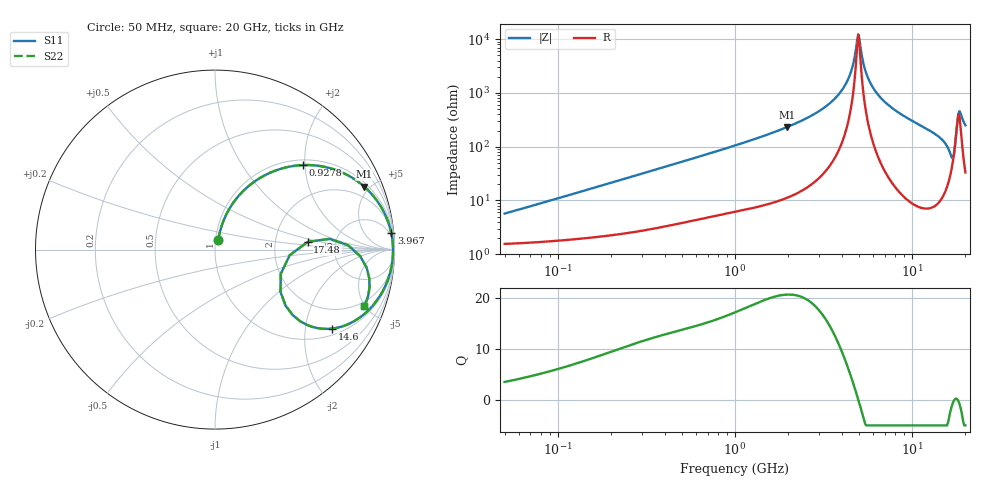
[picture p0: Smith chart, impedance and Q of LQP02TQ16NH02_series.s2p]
!Murata Part Number: LQP02TQ16NH02
!These Parameters are Measured in Series Mode Connection
!  o--[Z]--o
!Port1  Port2
!  o-------o
!Freq. Start=50[MHz] Stop=20[GHz], 401[Steps]
# Hz S RI R 50
!Freq.(Hz) S11(Real) S11(Imag) S21(Real) S21(Imag) S12(Real) S12(Imag) S22(Real) S22(Imag)
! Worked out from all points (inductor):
!   401 points, 50 MHz to 20 GHz, reference 50 ohm
!   read as one part in series: L = 17.4 nH near 51.52 MHz
!   highest Q = 20.7 at 1.962 GHz (marker M1), where L = 18.7 nH
!   self-resonance near 4.967 GHz
!   S11 on the Smith chart (normalised r, x): 50 MHz: 1.03, +0.11; 927.8 MHz: 1.12, +1.95; 3.967 GHz: 3, +21; 14.6 GHz: 1.21, -2.80; 17.48 GHz: 3.11, +0.37; 20 GHz: 1.66, -4.97
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5e7  0.0182 0.0531  0.9818 -0.0531  0.9818 -0.0531  0.0182 0.0531
1.364002e8  0.039 0.1381  0.961 -0.1381  0.961 -0.1381  0.039 0.1381
3.721004e8  0.1522 0.3215  0.8478 -0.3215  0.8478 -0.3215  0.1522 0.3215
9.278425e8  0.4881 0.4708  0.5119 -0.4708  0.5119 -0.4708  0.4881 0.4708
1e9  0.5251 0.4711  0.4749 -0.4711  0.4749 -0.4711  0.5251 0.4711
1.962148e9  0.8309 0.3514  0.1691 -0.3514  0.1691 -0.3514  0.8309 0.3514
2.728004e9  0.9263 0.2363  0.0737 -0.2363  0.0737 -0.2363  0.9263 0.2363
3.967106e9  0.9823 0.0906  0.0177 -0.0906  0.0177 -0.0906  0.9823 0.0906
4.472136e9  0.9896 0.0427  0.0104 -0.0427  0.0104 -0.0427  0.9896 0.0427
4.966507e9  0.9919 0.000525  0.00805 -0.000525  0.00805 -0.000525  0.9919 0.000525
5.117541e9  0.9919 -0.0116  0.00808 0.0116  0.00808 0.0116  0.9919 -0.0116
5.433528e9  0.991 -0.0359  0.00905 0.0359  0.00905 0.0359  0.991 -0.0359
5.769027e9  0.9887 -0.0603  0.0113 0.0603  0.0113 0.0603  0.9887 -0.0603
6.406762e9  0.9817 -0.1035  0.0183 0.1035  0.0183 0.1035  0.9817 -0.1035
7.442007e9  0.964 -0.1658  0.036 0.1658  0.036 0.1658  0.964 -0.1658
1.131968e10  0.8477 -0.3446  0.1523 0.3446  0.1523 0.3446  0.8477 -0.3446
1.460232e10  0.6532 -0.44  0.3468 0.44  0.3468 0.44  0.6532 -0.44
1.573793e10  0.5132 -0.42  0.4868 0.42  0.4868 0.42  0.5132 -0.42
1.670968e10  0.365 -0.2358  0.635 0.2358  0.635 0.2358  0.365 -0.2358
1.747767e10  0.5167 0.0431  0.4833 -0.0431  0.4833 -0.0431  0.5167 0.0431
1.855685e10  0.8454 -0.1022  0.1546 0.1022  0.1546 0.1022  0.8454 -0.1022
2e10  0.8325 -0.3126  0.1675 0.3126  0.1675 0.3126  0.8325 -0.3126
